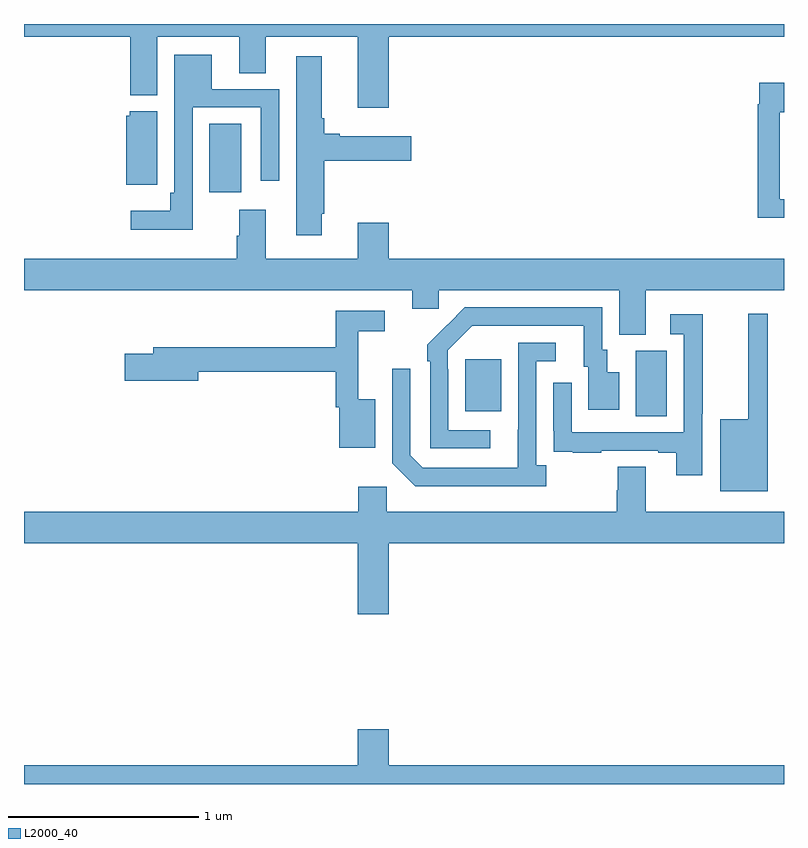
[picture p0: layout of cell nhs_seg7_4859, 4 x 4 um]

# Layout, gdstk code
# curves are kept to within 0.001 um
import gdstk
lib = gdstk.Library(unit=1e-6, precision=1e-09)
def R(c, l, rs):  # rectangles x0, y0, x1, y1
    for r in rs: c.add(gdstk.rectangle(r[:2], r[2:], *l))
def P(c, l, *ps):  # polygons
    for p in ps: c.add(gdstk.Polygon(p, *l))
L2000_40 = (2000, 40)

nhs_seg7_4859 = lib.new_cell('nhs_seg7_4859')
R(nhs_seg7_4859, L2000_40, [(418.22,1015.936,418.384,1016.28), (417.323,1015.961,417.511,1016.236), (415.976,1017.114,416.143,1017.476)])
P(nhs_seg7_4859, L2000_40, [(416.92,1017.932),(419,1017.932),(419,1018),(415,1018),(415,1017.932),(415.559,1017.932),(415.559,1017.626),(415.702,1017.626),(415.702,1017.932),(416.132,1017.932),(416.132,1017.742),(416.272,1017.742),(416.272,1017.932),(416.756,1017.932),(416.756,1017.558),(416.92,1017.558)],
  [(415.887,1017.561),(416.247,1017.561),(416.247,1017.174),(416.343,1017.174),(416.343,1017.657),(415.987,1017.657),(415.987,1017.838),(415.791,1017.838),(415.791,1017.112),(415.771,1017.112),(415.771,1017.016),(415.563,1017.016),(415.563,1016.918),(415.887,1016.918)],
  [(416.566,1017.001),(416.579,1017.001),(416.579,1017.28),(417.037,1017.28),(417.037,1017.409),(416.662,1017.409),(416.662,1017.422),(416.579,1017.422),(416.579,1017.505),(416.566,1017.505),(416.566,1017.829),(416.432,1017.829),(416.432,1016.889),(416.566,1016.889)],
  [(419,1017.078),(418.977,1017.078),(418.977,1017.535),(419,1017.535),(419,1017.691),(418.869,1017.691),(418.869,1017.578),(418.861,1017.578),(418.861,1016.981),(419,1016.981)],
  [(415.702,1017.541),(415.557,1017.541),(415.557,1017.516),(415.538,1017.516),(415.538,1017.155),(415.702,1017.155)],
  [(418.273,1016.6),(419,1016.6),(419,1016.764),(416.92,1016.764),(416.92,1016.953),(416.756,1016.953),(416.756,1016.764),(416.272,1016.764),(416.272,1017.022),(416.132,1017.022),(416.132,1016.885),(416.12,1016.885),(416.12,1016.764),(415,1016.764),(415,1016.6),(417.044,1016.6),(417.044,1016.502),(417.183,1016.502),(417.183,1016.6),(418.133,1016.6),(418.133,1016.365),(418.273,1016.365)],
  [(417.454,1015.863),(417.234,1015.863),(417.234,1016.183),(417.231,1016.183),(417.231,1016.283),(417.36,1016.412),(417.947,1016.412),(417.947,1016.196),(417.971,1016.196),(417.971,1015.971),(418.132,1015.971),(418.132,1016.167),(418.069,1016.167),(418.069,1016.286),(418.044,1016.286),(418.044,1016.508),(417.32,1016.508),(417.123,1016.313),(417.123,1016.225),(417.138,1016.225),(417.138,1015.767),(417.454,1015.767)],
  [(416.848,1016.026),(416.759,1016.026),(416.759,1016.382),(416.899,1016.382),(416.899,1016.49),(416.641,1016.49),(416.641,1016.299),(415.679,1016.299),(415.679,1016.265),(415.53,1016.265),(415.53,1016.123),(415.918,1016.123),(415.918,1016.17),(416.641,1016.17),(416.641,1015.983),(416.66,1015.983),(416.66,1015.769),(416.848,1015.769)],
  [(418.915,1016.476),(418.811,1016.476),(418.811,1015.921),(418.664,1015.921),(418.664,1015.541),(418.915,1015.541)],
  [(418.569,1015.948),(418.572,1015.948),(418.572,1016.473),(418.401,1016.473),(418.401,1016.367),(418.473,1016.367),(418.473,1015.851),(417.882,1015.851),(417.882,1016.113),(417.786,1016.113),(417.786,1015.858),(417.787,1015.858),(417.787,1015.749),(417.889,1015.749),(417.889,1015.743),(418.037,1015.743),(418.037,1015.755),(418.337,1015.755),(418.337,1015.743),(418.433,1015.743),(418.433,1015.626),(418.569,1015.626)],
  [(417.748,1015.678),(417.696,1015.678),(417.696,1016.226),(417.799,1016.226),(417.799,1016.322),(417.6,1016.322),(417.599,1015.665),(417.099,1015.665),(417.033,1015.731),(417.033,1016.185),(416.937,1016.185),(416.937,1015.689),(417.058,1015.568),(417.748,1015.568)],
  [(416.92,1015.268),(419,1015.268),(419,1015.432),(418.273,1015.432),(418.273,1015.67),(418.126,1015.67),(418.126,1015.545),(418.121,1015.545),(418.121,1015.432),(416.91,1015.432),(416.91,1015.564),(416.759,1015.564),(416.759,1015.432),(415,1015.432),(415,1015.268),(416.756,1015.268),(416.756,1014.894),(416.92,1014.894)],
  [(419,1014.1),(416.92,1014.1),(416.92,1014.289),(416.756,1014.289),(416.756,1014.1),(415,1014.1),(415,1014),(419,1014)])

lib.write_gds('nhs_seg7_4859.gds')
